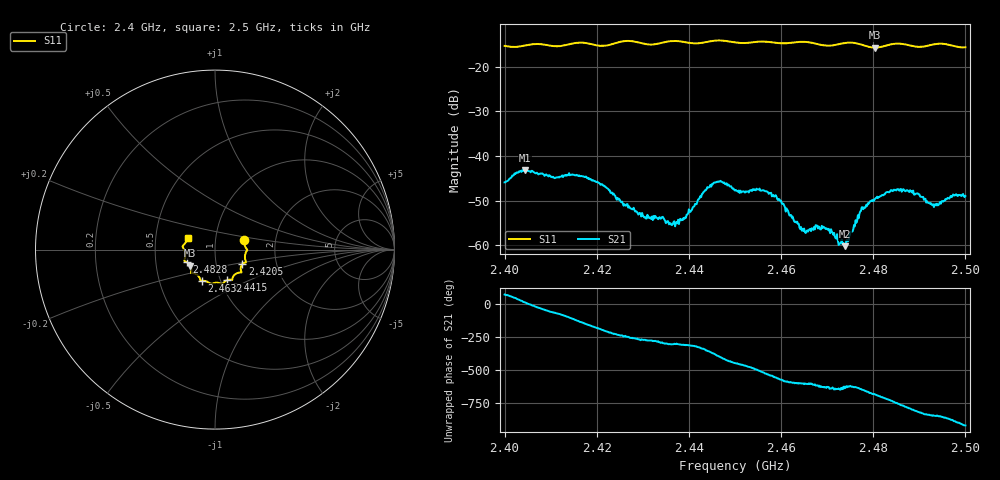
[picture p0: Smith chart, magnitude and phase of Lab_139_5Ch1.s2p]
# Hz S RI R 50
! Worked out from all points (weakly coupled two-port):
!   601 points, 2.4 GHz to 2.5 GHz, reference 50 ohm
!   highest |S21| = -43.08 dB at 2.4043 GHz (marker M1); lowest = -60.2 dB at 2.4738 GHz (marker M2)
!   lowest |S11| = -15.7 dB at 2.4803 GHz (marker M3), VSWR 1.39, Z = 37.4 - j6.84 ohm
!   |S11| at or under -10 dB: start of sweep to end of sweep
!   S12 and S22 are empty: the file has one direction only
!   S11 on the Smith chart (normalised r, x): 2.4 GHz: 1.38, +0.15; 2.4205 GHz: 1.34, -0.22; 2.4415 GHz: 1.07, -0.38; 2.4632 GHz: 0.82, -0.29; 2.4828 GHz: 0.72, -0.10; 2.5 GHz: 0.73, +0.10
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2.4e9  0.1635 0.0518  0.00129 0.00493  0 0  0 0
2.404333e9  0.1728 0.008  0.00674 0.00195  0 0  0 0
2.416667e9  0.173 -0.0701  -0.00433 -0.00417  0 0  0 0
2.4205e9  0.1519 -0.0815  -0.00499 0.000471  0 0  0 0
2.429167e9  0.1362 -0.1277  -0.00013 0.00227  0 0  0 0
2.433333e9  0.1001 -0.1516  0.000404 0.00193  0 0  0 0
2.4375e9  0.0955 -0.1692  0.000955 0.00149  0 0  0 0
2.4415e9  0.066 -0.1708  0.00224 0.00184  0 0  0 0
2.445833e9  0.0414 -0.1925  0.0046 -0.00215  0 0  0 0
2.45e9  0.0242 -0.1863  0.000113 -0.00412  0 0  0 0
2.457333e9  -0.0278 -0.188  -0.00378 -0.000191  0 0  0 0
2.463167e9  -0.073 -0.1738  -0.000941 0.0016  0 0  0 0
2.466667e9  -0.0821 -0.167  -0.000661 0.00141  0 0  0 0
2.469833e9  -0.0975 -0.1426  0.000189 0.00154  0 0  0 0
2.473833e9  -0.1312 -0.1304  0.000158 0.000969  0 0  0 0
2.4775e9  -0.1312 -0.1187  0.000914 0.00251  0 0  0 0
2.480333e9  -0.1377 -0.0891  0.00274 0.00184  0 0  0 0
2.482833e9  -0.1584 -0.07  0.00395 -7.08e-05  0 0  0 0
2.483333e9  -0.1624 -0.0681  0.00392 -0.00049  0 0  0 0
2.488167e9  -0.1665 -0.0449  0.000862 -0.00392  0 0  0 0
2.493167e9  -0.1784 0.0106  -0.00169 -0.00209  0 0  0 0
2.5e9  -0.1527 0.0645  -0.00327 0.00144  0 0  0 0
